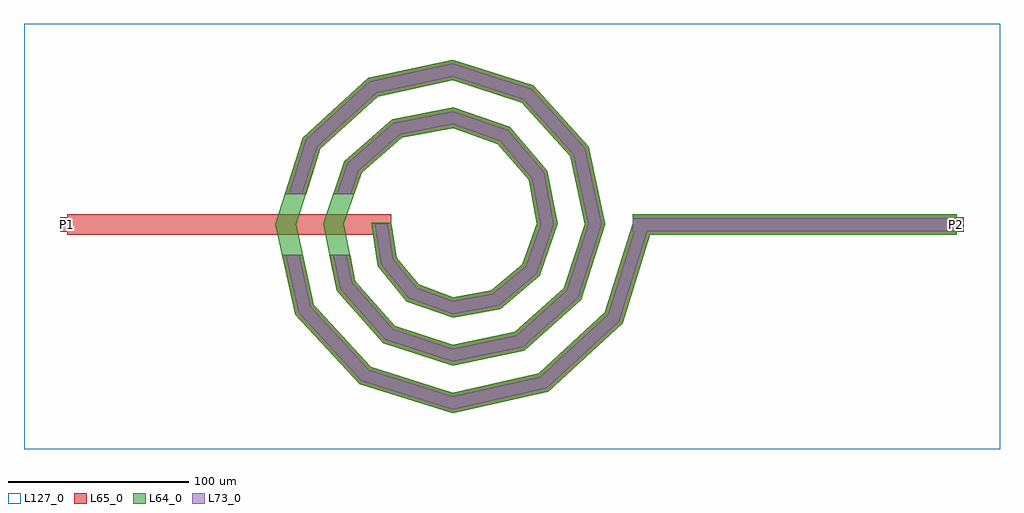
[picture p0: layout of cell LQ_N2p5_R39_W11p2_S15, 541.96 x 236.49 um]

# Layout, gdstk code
import gdstk
lib = gdstk.Library(unit=1e-6, precision=1e-09)
def R(c, l, rs):  # rectangles x0, y0, x1, y1
    for r in rs: c.add(gdstk.rectangle(r[:2], r[2:], *l))
def P(c, l, *ps):  # polygons
    for p in ps: c.add(gdstk.Polygon(p, *l))
L64_0 = (64, 0)
L65_0 = (65, 0)
L73_0 = (73, 0)
L127_0 = (127, 0)

lq_n2p5_r39_w11p2_s15 = lib.new_cell('LQ_N2p5_R39_W11p2_S15')
R(lq_n2p5_r39_w11p2_s15, L64_0, [(100.105,-5.6,280.105,5.6)])
P(lq_n2p5_r39_w11p2_s15, L64_0, [(-30.791,-18.437),(-18.575,-33.259),(0.517,-40.298),(21.68,-36.563),(38.957,-21.947),(46.918,0.452),(42.327,24.939),(25.305,44.665),(0.402,53.541),(-28.21,48.086),(-50.379,28.654),(-60.164,0.362),(-53.841,-31.489),(-31.996,-56.097),(0.329,-66.788),(34.774,-59.593),(61.82,-35.334),(73.412,0.301),(65.343,38.064),(38.667,67.544),(0.278,80.037),(-41.357,71.091),(-73.271,41.997),(-86.661,0.258),(-76.837,-44.653),(-45.326,-78.999),(0.241,-93.286),(47.952,-82.583),(84.729,-48.652),(100.357,1.661),(111.053,-1.661),(94.533,-54.845),(53.337,-92.853),(0.241,-104.873),(-51.546,-88.787),(-87.123,-50.009),(-98.247,0.258),(-83.039,48.248),(-46.68,81.394),(0.278,91.62),(44.953,77.29),(75.666,43.347),(84.994,0.301),(71.539,-41.661),(40.012,-69.94),(0.329,-78.367),(-38.373,-65.785),(-64.217,-36.671),(-71.74,0.362),(-60.028,35.089),(-33.325,58.496),(0.402,65.112),(31.813,54.266),(52.779,29.97),(58.483,0.452),(48.498,-28.546),(26.604,-47.067),(0.517,-51.853),(-25.291,-42.72),(-41.363,-23.221),(-44.978,0.895),(-33.922,0.895)])
R(lq_n2p5_r39_w11p2_s15, L65_0, [(-213.85,-5.6,-33.85,5.6), (100.105,-5.6,280.105,5.6), (-217.85,-4,-209.85,4), (276.105,-4,284.105,4)])
P(lq_n2p5_r39_w11p2_s15, L65_0, [(-76.837,-44.653),(-45.326,-78.999),(0.241,-93.286),(47.952,-82.583),(84.729,-48.652),(100.357,1.661),(111.053,-1.661),(94.533,-54.845),(53.337,-92.853),(0.241,-104.873),(-51.546,-88.787),(-87.123,-50.009),(-94.472,-16.8),(-83.001,-16.8)],
  [(-53.841,-31.489),(-31.996,-56.097),(0.329,-66.788),(34.774,-59.593),(61.82,-35.334),(73.412,0.301),(65.343,38.064),(38.667,67.544),(0.278,80.037),(-41.357,71.091),(-73.271,41.998),(-81.256,16.8),(-93.005,16.8),(-83.039,48.248),(-46.68,81.394),(0.278,91.62),(44.953,77.29),(75.666,43.347),(84.994,0.301),(71.539,-41.661),(40.012,-69.94),(0.329,-78.367),(-38.373,-65.785),(-64.217,-36.671),(-68.254,-16.8),(-56.825,-16.8)],
  [(-18.575,-33.259),(0.517,-40.298),(21.68,-36.563),(38.957,-21.947),(46.918,0.452),(42.327,24.939),(25.305,44.665),(0.402,53.541),(-28.21,48.086),(-50.379,28.654),(-54.376,16.8),(-66.196,16.8),(-60.028,35.089),(-33.325,58.496),(0.402,65.112),(31.813,54.266),(52.779,29.97),(58.483,0.452),(48.498,-28.546),(26.604,-47.067),(0.517,-51.853),(-25.292,-42.72),(-41.363,-23.221),(-44.978,0.895),(-33.922,0.895),(-30.792,-18.437)])
R(lq_n2p5_r39_w11p2_s15, L73_0, [(100.105,-3.6,280.105,3.6)])
P(lq_n2p5_r39_w11p2_s15, L73_0, [(-78.674,-45.61),(-46.436,-80.747),(0.155,-95.355),(48.913,-84.417),(86.479,-49.758),(102.267,1.068),(109.143,-1.068),(92.782,-53.739),(52.375,-91.019),(0.155,-102.804),(-50.435,-87.039),(-85.286,-49.053),(-92.424,-16.8),(-85.049,-16.8)],
  [(-55.694,-32.414),(-33.135,-57.827),(0.211,-68.856),(35.71,-61.441),(63.555,-36.464),(75.48,0.194),(67.186,39.008),(39.79,69.285),(0.179,82.105),(-42.308,72.931),(-75.015,43.114),(-83.354,16.8),(-90.907,16.8),(-81.295,47.132),(-45.729,79.554),(0.179,89.552),(43.831,75.55),(73.823,42.404),(82.926,0.194),(69.803,-40.531),(39.076,-68.093),(0.211,-76.299),(-37.234,-64.055),(-62.364,-35.746),(-66.213,-16.8),(-58.866,-16.8)],
  [(-19.775,-34.949),(0.332,-42.361),(22.559,-38.439),(40.661,-23.125),(48.984,0.291),(44.193,25.837),(26.467,46.379),(0.259,55.607),(-29.123,49.945),(-52.102,29.803),(-56.487,16.8),(-64.085,16.8),(-58.305,33.94),(-32.412,56.637),(0.259,63.046),(30.651,52.552),(50.912,29.072),(56.418,0.291),(46.794,-27.367),(25.725,-45.191),(0.332,-49.79),(-24.092,-41.031),(-39.475,-22.367),(-43.004,0.575),(-35.896,0.575),(-32.679,-19.292)])
R(lq_n2p5_r39_w11p2_s15, L127_0, [(-237.85,-124.873,304.105,111.62)])
lq_n2p5_r39_w11p2_s15.add(gdstk.Label('P2', (280.105,0), layer=65, texttype=0))
lq_n2p5_r39_w11p2_s15.add(gdstk.Label('P1', (-213.85,0), layer=65, texttype=0))
lq_n2p5_r39_w11p2_s15.add(gdstk.Label('P2', (284.105,0), layer=145, texttype=0))
lq_n2p5_r39_w11p2_s15.add(gdstk.Label('P1', (-217.85,0), layer=145, texttype=0))

lib.write_gds('LQ_N2p5_R39_W11p2_S15.gds')
